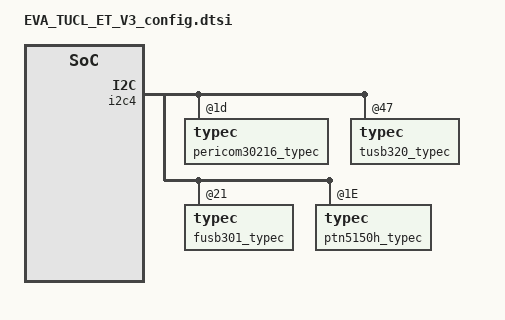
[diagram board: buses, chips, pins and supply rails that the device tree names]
/**
 * Huawei Ltd.
 * PhosphorV660
 */


/include/ "EVA_TUCL_V0_config.dtsi"

/{
	hisi,modem_id = <0x3C011000>;
	hisi,boardid = <3 5 5 3>;
	hisi,boardname = "EVA_TUCL_ET_V3";
	amba{
		i2c4: i2c@FDF0D000{
			pericom30216_typec: typec@1d {
				pericom30216_gpio_enb = <1>;
				status = "ok";
			};
			tusb320_typec: typec@47 {
				tusb320_gpio_enb = <1>;
				tusb320_mdelay = <100>;
				status = "ok";
			};
			fusb301_typec: typec@21 {
				fusb301_gpio_enb = <1>;
				status = "ok";
			};
			ptn5150h_typec: typec@1E {
				ptn5150h_gpio_enb = <1>;
				status = "ok";
			};
		};
	};
};
